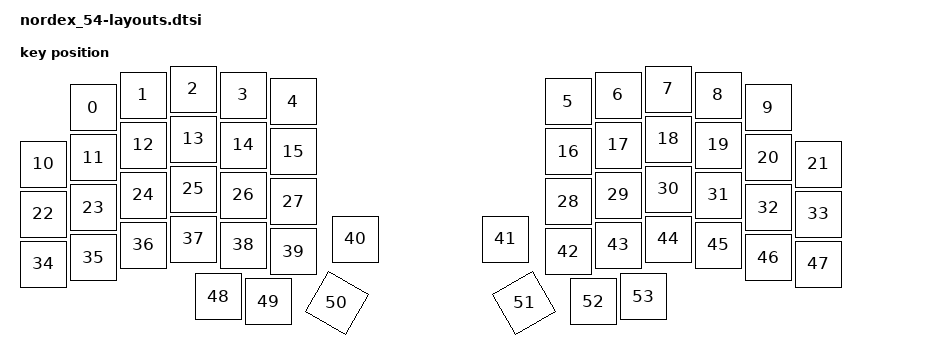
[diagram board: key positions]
#include <physical_layouts.dtsi>

/ {
    physical_layout_nordex_54: physical_layout_nordex_54 {
        compatible = "zmk,physical-layout";
        display-name = "NorDex_54";
        keys  //                     w   h    x    y     rot    rx    ry
            = <&key_physical_attrs 100 100  100   37       0     0     0>
            , <&key_physical_attrs 100 100  200   12       0     0     0>
            , <&key_physical_attrs 100 100  300    0       0     0     0>
            , <&key_physical_attrs 100 100  400   12       0     0     0>
            , <&key_physical_attrs 100 100  500   25       0     0     0>
            , <&key_physical_attrs 100 100 1050   25       0     0     0>
            , <&key_physical_attrs 100 100 1150   12       0     0     0>
            , <&key_physical_attrs 100 100 1250    0       0     0     0>
            , <&key_physical_attrs 100 100 1350   12       0     0     0>
            , <&key_physical_attrs 100 100 1450   37       0     0     0>
            , <&key_physical_attrs 100 100    0  150       0     0     0>
            , <&key_physical_attrs 100 100  100  137       0     0     0>
            , <&key_physical_attrs 100 100  200  112       0     0     0>
            , <&key_physical_attrs 100 100  300  100       0     0     0>
            , <&key_physical_attrs 100 100  400  112       0     0     0>
            , <&key_physical_attrs 100 100  500  125       0     0     0>
            , <&key_physical_attrs 100 100 1050  125       0     0     0>
            , <&key_physical_attrs 100 100 1150  112       0     0     0>
            , <&key_physical_attrs 100 100 1250  100       0     0     0>
            , <&key_physical_attrs 100 100 1350  112       0     0     0>
            , <&key_physical_attrs 100 100 1450  137       0     0     0>
            , <&key_physical_attrs 100 100 1550  150       0     0     0>
            , <&key_physical_attrs 100 100    0  250       0     0     0>
            , <&key_physical_attrs 100 100  100  237       0     0     0>
            , <&key_physical_attrs 100 100  200  212       0     0     0>
            , <&key_physical_attrs 100 100  300  200       0     0     0>
            , <&key_physical_attrs 100 100  400  212       0     0     0>
            , <&key_physical_attrs 100 100  500  225       0     0     0>
            , <&key_physical_attrs 100 100 1050  225       0     0     0>
            , <&key_physical_attrs 100 100 1150  212       0     0     0>
            , <&key_physical_attrs 100 100 1250  200       0     0     0>
            , <&key_physical_attrs 100 100 1350  212       0     0     0>
            , <&key_physical_attrs 100 100 1450  237       0     0     0>
            , <&key_physical_attrs 100 100 1550  250       0     0     0>
            , <&key_physical_attrs 100 100    0  350       0     0     0>
            , <&key_physical_attrs 100 100  100  337       0     0     0>
            , <&key_physical_attrs 100 100  200  312       0     0     0>
            , <&key_physical_attrs 100 100  300  300       0     0     0>
            , <&key_physical_attrs 100 100  400  312       0     0     0>
            , <&key_physical_attrs 100 100  500  325       0     0     0>
            , <&key_physical_attrs 100 100  625  300       0     0     0>
            , <&key_physical_attrs 100 100  925  300       0     0     0>
            , <&key_physical_attrs 100 100 1050  325       0     0     0>
            , <&key_physical_attrs 100 100 1150  312       0     0     0>
            , <&key_physical_attrs 100 100 1250  300       0     0     0>
            , <&key_physical_attrs 100 100 1350  312       0     0     0>
            , <&key_physical_attrs 100 100 1450  337       0     0     0>
            , <&key_physical_attrs 100 100 1550  350       0     0     0>
            , <&key_physical_attrs 100 100  350  415       0     0     0>
            , <&key_physical_attrs 100 100  450  425       0     0     0>
            , <&key_physical_attrs 100 100  575  425    3000   625   500>
            , <&key_physical_attrs 100 100  975  425 (-3000)  1025   500>
            , <&key_physical_attrs 100 100 1100  425       0     0     0>
            , <&key_physical_attrs 100 100 1200  415       0     0     0>
            ;
    };
};
